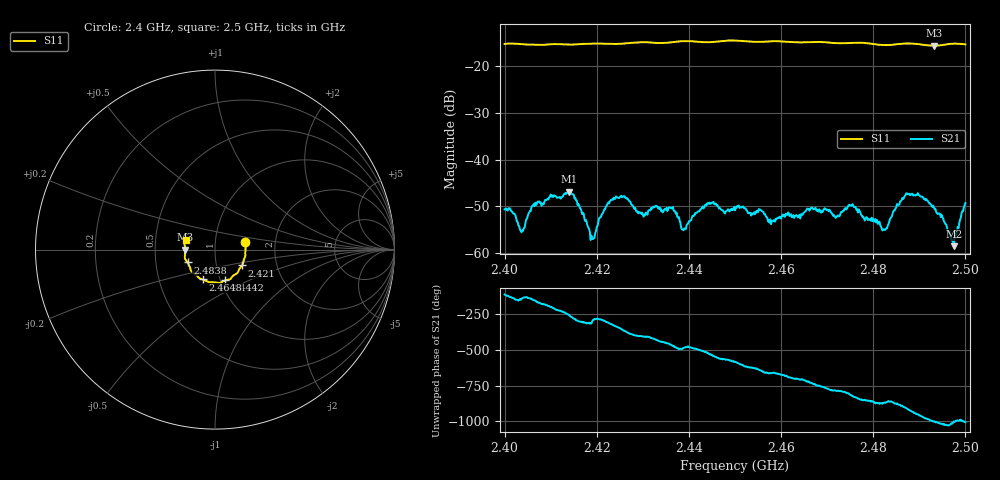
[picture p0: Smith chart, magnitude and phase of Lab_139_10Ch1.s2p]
# Hz S RI R 50
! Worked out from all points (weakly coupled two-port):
!   601 points, 2.4 GHz to 2.5 GHz, reference 50 ohm
!   highest |S21| = -46.91 dB at 2.414 GHz (marker M1); lowest = -58.6 dB at 2.4975 GHz (marker M2)
!   lowest |S11| = -15.6 dB at 2.4932 GHz (marker M3), VSWR 1.40, Z = 35.8 - j0.0804 ohm
!   |S11| at or under -10 dB: start of sweep to end of sweep
!   S12 and S22 are empty: the file has one direction only
!   S11 on the Smith chart (normalised r, x): 2.4 GHz: 1.40, +0.12; 2.421 GHz: 1.33, -0.24; 2.4442 GHz: 1.05, -0.37; 2.4648 GHz: 0.83, -0.28; 2.4838 GHz: 0.73, -0.11; 2.5 GHz: 0.72, +0.08
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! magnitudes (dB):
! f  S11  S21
! 2.4 GHz  -15.2  -50.7
! 2.4038 GHz  -15.3  -55.2
! 2.4063 GHz  -15.4  -49.5
! 2.414 GHz  -15.4  -46.9
! 2.4167 GHz  -15.3  -51.0
! 2.419 GHz  -15.2  -57.0
! 2.421 GHz  -15.2  -52.0
! 2.4255 GHz  -15.2  -48.1
! 2.43 GHz  -14.9  -51.9
! 2.4333 GHz  -15.0  -50.5
! 2.4388 GHz  -14.6  -55.2
! 2.4442 GHz  -14.9  -49.3
! 2.45 GHz  -14.5  -50.9
! 2.4648 GHz  -14.9  -51.5
! 2.4667 GHz  -14.8  -50.2
! 2.4752 GHz  -15.0  -49.9
! 2.4833 GHz  -15.5  -53.8
! 2.4838 GHz  -15.4  -52.5
! 2.4873 GHz  -15.1  -47.3
! 2.4932 GHz  -15.6  -50.2
! 2.4975 GHz  -15.2  -58.6
! 2.5 GHz  -15.3  -49.3
